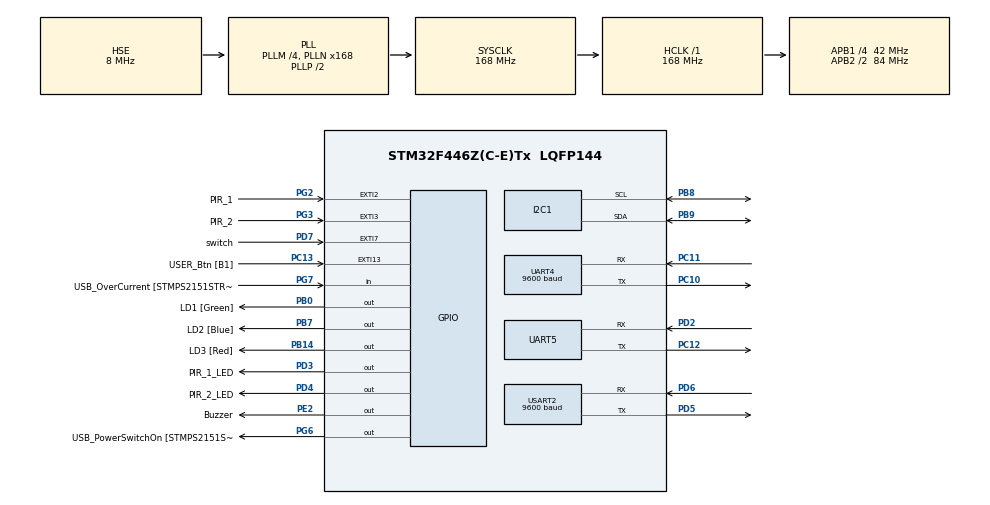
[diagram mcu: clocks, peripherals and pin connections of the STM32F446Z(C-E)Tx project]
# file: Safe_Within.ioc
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I2C1.I2C_Mode=I2C_Fast
I2C1.OwnAddress=0x10
Mcu.Family=STM32F4
Mcu.Name=STM32F446Z(C-E)Tx
Mcu.Package=LQFP144
NVIC.EXTI2_IRQn=true\:0\:0\:false\:false\:true\:true\:true\:true
NVIC.EXTI9_5_IRQn=true\:0\:0\:false\:false\:true\:true\:true\:true
NVIC.PriorityGroup=NVIC_PRIORITYGROUP_4
NVIC.TIM6_DAC_IRQn=true\:0\:0\:false\:false\:true\:true\:true\:true
NVIC.UART4_IRQn=true\:0\:0\:false\:false\:true\:true\:true\:true
NVIC.USART2_IRQn=true\:0\:0\:false\:false\:true\:true\:true\:true
PA10.GPIO_Label=USB_ID
PA10.Signal=USB_OTG_FS_ID
PA11.GPIO_Label=USB_DM
PA11.Signal=USB_OTG_FS_DM
PA12.GPIO_Label=USB_DP
PA12.Signal=USB_OTG_FS_DP
PA13.GPIO_Label=TMS
PA13.Mode=Serial_Wire
PA13.Signal=SYS_JTMS-SWDIO
PA14.GPIO_Label=TCK
PA14.Mode=Serial_Wire
PA14.Signal=SYS_JTCK-SWCLK
PA8.GPIO_Label=USB_SOF [TP1]
PA8.Signal=USB_OTG_FS_SOF
PA9.GPIO_Label=USB_VBUS
PA9.Signal=USB_OTG_FS_VBUS
PB0.GPIO_Label=LD1 [Green]
PB0.Signal=GPIO_Output
PB14.GPIO_Label=LD3 [Red]
PB14.Signal=GPIO_Output
PB7.GPIO_Label=LD2 [Blue]
PB7.Signal=GPIO_Output
PB8.Mode=I2C
PB8.Signal=I2C1_SCL
PB9.Mode=I2C
PB9.Signal=I2C1_SDA
PC10.Mode=Asynchronous
PC10.Signal=UART4_TX
PC11.Mode=Asynchronous
PC11.Signal=UART4_RX
PC12.Mode=Asynchronous
PC12.Signal=UART5_TX
PC13.GPIO_Label=USER_Btn [B1]
PC13.Signal=GPXTI13
PC14-OSC32_IN.Mode=LSE-External-Oscillator
PC14-OSC32_IN.Signal=RCC_OSC32_IN
PC15-OSC32_OUT.Mode=LSE-External-Oscillator
PC15-OSC32_OUT.Signal=RCC_OSC32_OUT
PD2.Mode=Asynchronous
PD2.Signal=UART5_RX
PD3.GPIO_Label=PIR_1_LED
PD3.Signal=GPIO_Output
PD4.GPIO_Label=PIR_2_LED
PD4.Signal=GPIO_Output
PD5.Mode=Asynchronous
PD5.Signal=USART2_TX
PD6.Mode=Asynchronous
PD6.Signal=USART2_RX
PD7.GPIO_Label=switch
PD7.GPIO_PuPd=GPIO_PULLUP
PD7.Signal=GPXTI7
PD8.GPIO_Label=STLK_RX [STM32F103CBT6_PA3]
PD8.Signal=USART3_TX
PD9.GPIO_Label=STLK_TX [STM32F103CBT6_PA2]
PD9.Signal=USART3_RX
PE2.GPIO_Label=Buzzer
PE2.GPIO_PuPd=GPIO_PULLUP
PE2.PinState=GPIO_PIN_SET
PE2.Signal=GPIO_Output
PG2.GPIO_Label=PIR_1
PG2.GPIO_PuPd=GPIO_PULLUP
PG2.Signal=GPXTI2
PG3.GPIO_Label=PIR_2
PG3.GPIO_PuPd=GPIO_PULLUP
PG3.Signal=GPXTI3
PG6.GPIO_Label=USB_PowerSwitchOn [STMPS2151STR_EN]
PG6.Signal=GPIO_Output
PG7.GPIO_Label=USB_OverCurrent [STMPS2151STR_FAULT]
PG7.Signal=GPIO_Input
PH0-OSC_IN.GPIO_Label=MCO [STM32F103CBT6_PA8]
PH0-OSC_IN.Mode=HSE-External-Clock-Source
PH0-OSC_IN.Signal=RCC_OSC_IN
PH1-OSC_OUT.Mode=HSE-External-Clock-Source
PH1-OSC_OUT.Signal=RCC_OSC_OUT
ProjectManager.HeapSize=0x200
ProjectManager.StackSize=0x400
ProjectManager.TargetToolchain=STM32CubeIDE
RCC.48MHZClocksFreq_Value=24000000
RCC.AHBFreq_Value=168000000
RCC.APB1CLKDivider=RCC_HCLK_DIV4
RCC.APB1Freq_Value=42000000
RCC.APB1TimFreq_Value=84000000
RCC.APB2CLKDivider=RCC_HCLK_DIV2
RCC.APB2Freq_Value=84000000
RCC.APB2TimFreq_Value=168000000
RCC.CortexFreq_Value=168000000
RCC.HCLKFreq_Value=168000000
RCC.HSE_VALUE=8000000
RCC.HSI_VALUE=16000000
RCC.PLLM=4
RCC.PLLMUL=RCC_PLL_MUL9
RCC.PLLN=168
RCC.PLLQ=7
RCC.PLLSourceVirtual=RCC_PLLSOURCE_HSE
RCC.PRESCALERUSB=RCC_USBCLKSOURCE_PLL_DIV1_5
RCC.SYSCLKFreq_VALUE=168000000
RCC.SYSCLKSource=RCC_SYSCLKSOURCE_PLLCLK
RCC.SYSCLKSourceVirtual=RCC_SYSCLKSOURCE_PLLCLK
RCC.USBFreq_Value=48000000
RCC.VCOOutputFreq_Value=336000000
TIM6.AutoReloadPreload=TIM_AUTORELOAD_PRELOAD_ENABLE
TIM6.Period=9999
TIM6.Prescaler=83
UART4.BaudRate=9600
UART4.VirtualMode=Asynchronous
UART5.VirtualMode=Asynchronous
USART2.BaudRate=9600
USART2.VirtualMode=VM_ASYNC
VP_TIM6_VS_ClockSourceINT.Mode=Enable_Timer
board=NUCLEO-F446ZE

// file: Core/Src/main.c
/* USER CODE BEGIN Header */
/**
  ******************************************************************************
  * @file           : main.c
  * @brief          : Main program body
  ******************************************************************************
  * @attention
  *
  * Copyright (c) 2025 STMicroelectronics.
  * All rights reserved.
  *
  * This software is licensed under terms that can be found in the LICENSE file
  * in the root directory of this software component.
  * If no LICENSE file comes with this software, it is provided AS-IS.
  *
  ******************************************************************************
  */
/* USER CODE END Header */
#include "main.h"

/* USER CODE BEGIN Includes */
#include "stdio.h"
#include "pir.h"
#include "buzzer.h"
#include "gsm.h"
#include "switch.h"
#include "string.h"
#include "modbus.h"
#include "i2c.h"
#include "sensor.h"
/* USER CODE END Includes */

I2C_HandleTypeDef hi2c1;

TIM_HandleTypeDef htim6;

UART_HandleTypeDef huart4;
UART_HandleTypeDef huart5;
UART_HandleTypeDef huart2;

/* USER CODE BEGIN PV */

/* Global Timer variable */
volatile uint32_t g_time = 0;

/*
 * UART Modbus
 */
volatile int uart_flag = 0;              // Frame received indicator
volatile uint32_t uart_int_time = 0;     // Interrupt time reference
volatile uint32_t uart_idle_time = 0;    // Idle time counter
uint8_t data = 0;                        // 1-byte buffer for USART2 data
int uart_index = 0;                      // Index for assembling modbus frame
uart_t request_t, response_t;            // UART request and response buffers

uint32_t time_check = 0;

float range;
detection_states sensor_state;

/* USER CODE END PV */

void SystemClock_Config(void);
static void MX_GPIO_Init(void);
static void MX_TIM6_Init(void);
static void MX_USART2_UART_Init(void);
static void MX_UART4_Init(void);
static void MX_I2C1_Init(void);
static void MX_UART5_Init(void);

/* USER CODE BEGIN 0 */

/**
 * @brief Callback: Timer Period Elapsed
 *
 * This is called whenever TIM6 overflows. Used as global timebase (g_time).
 */
void HAL_TIM_PeriodElapsedCallback(TIM_HandleTypeDef *htim) {
    if (htim->Instance == TIM6) {
    	g_time++ ;    //    Tick counter (ms resolution)
    }
}

/**
 * @brief Callback: UART Receive Complete
 *
 * Handles USART2 (Modbus) and UART4 (GSM) reception logic.
 */
void HAL_UART_RxCpltCallback(UART_HandleTypeDef *huart){
	/*
	 * 		Callback for MODBUS (UART2)
	 */
	if (huart->Instance == USART2){
		uart_flag = 1;                              // Indicate frame reception started
		uart_int_time = g_time;                     // Used as a clock watch
		modbus_frame[uart_index++] = data;          // Store data into modbus
		HAL_UART_Receive_IT(&huart2, &data, 1);     // Restart reception
	}

	/*
	 * 			Callback for GSM  (UART4)
	 */
    if (huart->Instance == UART4)
    {
        if (sim_rx_index < SIM_RX_BUFFER_SIZE - 1)
        {
            sim_rx_buffer[sim_rx_index++] = sim_rx_byte;    // Save incoming GSM char
        }
        HAL_UART_Receive_IT(&huart4, &sim_rx_byte, 1);     // Restart reception
    }

}

/* USER CODE END 0 */

int main(void)
{

  /* MCU Configuration--------------------------------------------------------*/

  /* Reset of all peripherals, Initializes the Flash interface and the Systick. */
  HAL_Init();

  /* Configure the system clock */
  SystemClock_Config();

  /* Initialize all configured peripherals */
  MX_GPIO_Init();
  MX_TIM6_Init();
  MX_USART2_UART_Init();
  MX_UART4_Init();
  MX_I2C1_Init();
  MX_UART5_Init();
  /* USER CODE BEGIN 2 */
//  States pir_state;

  /*
   *  Trigger buzzer for short time to indicate that  device is  activated
   */
  buzzer_on();
  HAL_Delay(500);
  buzzer_off();

  /* Initialize GSM module */
  gsm_reset();
  result = gsm_init();

  /* Start TIM6 as periodic interrupt (timebase) */
  HAL_TIM_Base_Start_IT(&htim6);
  time_check = g_time;  // Reference time for PIR  state monitoring

  /*
   * 	Testing I2C
   */
  uint16_t EepromAddress = 80;
  uint16_t DevAddress = EepromAddress << 1;
  uint8_t Transmit_data[3] = {0x00, 0x00, 0xAA};
  uint8_t Read_address[2] = {0x00, 0x00};
//  uint16_t Data_size = 1;
  uint8_t Received_data = 0;
  HAL_StatusTypeDef i2c_status;

  i2c_status = HAL_I2C_IsDeviceReady(&hi2c1, DevAddress, (uint32_t)I2C_TRIALS, (uint32_t)AT_TIMEOUT);
  if (i2c_status == HAL_OK){
	  HAL_I2C_Master_Transmit(&hi2c1, DevAddress, Transmit_data, 3, HAL_MAX_DELAY);
	  HAL_I2C_Master_Transmit(&hi2c1, DevAddress, Read_address, 2, HAL_MAX_DELAY);
	  HAL_I2C_Master_Receive(&hi2c1, DevAddress, Received_data, 1, HAL_MAX_DELAY);
  }
  /* USER CODE END 2 */

  /* Infinite loop */
  /* USER CODE BEGIN WHILE */

                                 /* Main Loop */
  while (1)
  {
	  range = get_object_distance();
	  sensor_state = get_sensor_state(range);
	  /* PIR ALERT state -> trigger buzzer and GSM call/sms */
	  if (sensor_state == ALERT){
		  buzzer_on();    // Trigger buzzer
		  int gsm_count = 0;   //Initialize gsm_counter as 0.

		  // Check for result response and retry upto 3 times until  result == GSM_STATE_OK
		  while(gsm_count <= MAX_GSM_INIT_ATTEMPTS){
			  if (result == GSM_STATE_OK){
				   call_sms_function();  // Trigger Call and SMS via GSM
				   break;
			  }
			  else{
				  result = gsm_init();  // Retry initialization
				  gsm_count++;  // Increment gsm_counter until its value <=3
			  }
		  }
	  }

	  else {
		  buzzer_off();  // Buzzer-OfF if pir_state is other than ALERT
	  }

	  /* Check again for Modbus frame completion */
	  if (uart_flag){
		  uart_idle_time = g_time - uart_int_time;
		  if (uart_idle_time > UART_TIMEOUT){
			  memcpy(request_t.message, modbus_frame, uart_index);
			  request_t.size = uart_index;
			  uart_index = 0;
			  uart_flag = 0;
			  Process_Modbus_Frame(modbus_frame);

		  }
	  }

    /* USER CODE END WHILE */

  }
}

void SystemClock_Config(void)
{
  RCC_OscInitTypeDef RCC_OscInitStruct = {0};
  RCC_ClkInitTypeDef RCC_ClkInitStruct = {0};

  /** Configure the main internal regulator output voltage
  */
  __HAL_RCC_PWR_CLK_ENABLE();
  __HAL_PWR_VOLTAGESCALING_CONFIG(PWR_REGULATOR_VOLTAGE_SCALE1);

  /** Initializes the RCC Oscillators according to the specified parameters
  * in the RCC_OscInitTypeDef structure.
  */
  RCC_OscInitStruct.OscillatorType = RCC_OSCILLATORTYPE_HSE;
  RCC_OscInitStruct.HSEState = RCC_HSE_BYPASS;
  RCC_OscInitStruct.PLL.PLLState = RCC_PLL_ON;
  RCC_OscInitStruct.PLL.PLLSource = RCC_PLLSOURCE_HSE;
  RCC_OscInitStruct.PLL.PLLM = 4;
  RCC_OscInitStruct.PLL.PLLN = 168;
  RCC_OscInitStruct.PLL.PLLP = RCC_PLLP_DIV2;
  RCC_OscInitStruct.PLL.PLLQ = 7;
  RCC_OscInitStruct.PLL.PLLR = 2;
  if (HAL_RCC_OscConfig(&RCC_OscInitStruct) != HAL_OK)
  {
    Error_Handler();
  }

  /** Initializes the CPU, AHB and APB buses clocks
  */
  RCC_ClkInitStruct.ClockType = RCC_CLOCKTYPE_HCLK|RCC_CLOCKTYPE_SYSCLK
                              |RCC_CLOCKTYPE_PCLK1|RCC_CLOCKTYPE_PCLK2;
  RCC_ClkInitStruct.SYSCLKSource = RCC_SYSCLKSOURCE_PLLCLK;
  RCC_ClkInitStruct.AHBCLKDivider = RCC_SYSCLK_DIV1;
  RCC_ClkInitStruct.APB1CLKDivider = RCC_HCLK_DIV4;
  RCC_ClkInitStruct.APB2CLKDivider = RCC_HCLK_DIV2;

  if (HAL_RCC_ClockConfig(&RCC_ClkInitStruct, FLASH_LATENCY_5) != HAL_OK)
  {
    Error_Handler();
  }
}

static void MX_I2C1_Init(void)
{

  hi2c1.Instance = I2C1;
  hi2c1.Init.ClockSpeed = 400000;
  hi2c1.Init.DutyCycle = I2C_DUTYCYCLE_2;
  hi2c1.Init.OwnAddress1 = 32;
  hi2c1.Init.AddressingMode = I2C_ADDRESSINGMODE_7BIT;
  hi2c1.Init.DualAddressMode = I2C_DUALADDRESS_DISABLE;
  hi2c1.Init.OwnAddress2 = 0;
  hi2c1.Init.GeneralCallMode = I2C_GENERALCALL_DISABLE;
  hi2c1.Init.NoStretchMode = I2C_NOSTRETCH_DISABLE;
  if (HAL_I2C_Init(&hi2c1) != HAL_OK)
  {
    Error_Handler();
  }

}

static void MX_TIM6_Init(void)
{

  TIM_MasterConfigTypeDef sMasterConfig = {0};

  htim6.Instance = TIM6;
  htim6.Init.Prescaler = 83;
  htim6.Init.CounterMode = TIM_COUNTERMODE_UP;
  htim6.Init.Period = 9999;
  htim6.Init.AutoReloadPreload = TIM_AUTORELOAD_PRELOAD_ENABLE;
  if (HAL_TIM_Base_Init(&htim6) != HAL_OK)
  {
    Error_Handler();
  }
  sMasterConfig.MasterOutputTrigger = TIM_TRGO_RESET;
  sMasterConfig.MasterSlaveMode = TIM_MASTERSLAVEMODE_DISABLE;
  if (HAL_TIMEx_MasterConfigSynchronization(&htim6, &sMasterConfig) != HAL_OK)
  {
    Error_Handler();
  }

}

static void MX_UART4_Init(void)
{

  huart4.Instance = UART4;
  huart4.Init.BaudRate = 9600;
  huart4.Init.WordLength = UART_WORDLENGTH_8B;
  huart4.Init.StopBits = UART_STOPBITS_1;
  huart4.Init.Parity = UART_PARITY_NONE;
  huart4.Init.Mode = UART_MODE_TX_RX;
  huart4.Init.HwFlowCtl = UART_HWCONTROL_NONE;
  huart4.Init.OverSampling = UART_OVERSAMPLING_16;
  if (HAL_UART_Init(&huart4) != HAL_OK)
  {
    Error_Handler();
  }

}

static void MX_UART5_Init(void)
{

  huart5.Instance = UART5;
  huart5.Init.BaudRate = 115200;
  huart5.Init.WordLength = UART_WORDLENGTH_8B;
  huart5.Init.StopBits = UART_STOPBITS_1;
  huart5.Init.Parity = UART_PARITY_NONE;
  huart5.Init.Mode = UART_MODE_TX_RX;
  huart5.Init.HwFlowCtl = UART_HWCONTROL_NONE;
  huart5.Init.OverSampling = UART_OVERSAMPLING_16;
  if (HAL_UART_Init(&huart5) != HAL_OK)
  {
    Error_Handler();
  }

}

static void MX_USART2_UART_Init(void)
{

  huart2.Instance = USART2;
  huart2.Init.BaudRate = 9600;
  huart2.Init.WordLength = UART_WORDLENGTH_8B;
  huart2.Init.StopBits = UART_STOPBITS_1;
  huart2.Init.Parity = UART_PARITY_NONE;
  huart2.Init.Mode = UART_MODE_TX_RX;
  huart2.Init.HwFlowCtl = UART_HWCONTROL_NONE;
  huart2.Init.OverSampling = UART_OVERSAMPLING_16;
  if (HAL_UART_Init(&huart2) != HAL_OK)
  {
    Error_Handler();
  }

}

static void MX_GPIO_Init(void)
{
  GPIO_InitTypeDef GPIO_InitStruct = {0};

  /* GPIO Ports Clock Enable */
  __HAL_RCC_GPIOE_CLK_ENABLE();
  __HAL_RCC_GPIOC_CLK_ENABLE();
  __HAL_RCC_GPIOH_CLK_ENABLE();
  __HAL_RCC_GPIOB_CLK_ENABLE();
  __HAL_RCC_GPIOD_CLK_ENABLE();
  __HAL_RCC_GPIOG_CLK_ENABLE();
  __HAL_RCC_GPIOA_CLK_ENABLE();

  /*Configure GPIO pin Output Level */
  HAL_GPIO_WritePin(Buzzer_GPIO_Port, Buzzer_Pin, GPIO_PIN_SET);

  /*Configure GPIO pin Output Level */
  HAL_GPIO_WritePin(GPIOB, LD1_Pin|LD3_Pin|LD2_Pin, GPIO_PIN_RESET);

  /*Configure GPIO pin Output Level */
  HAL_GPIO_WritePin(USB_PowerSwitchOn_GPIO_Port, USB_PowerSwitchOn_Pin, GPIO_PIN_RESET);

  /*Configure GPIO pin Output Level */
  HAL_GPIO_WritePin(GPIOD, PIR_1_LED_Pin|PIR_2_LED_Pin, GPIO_PIN_RESET);

  /*Configure GPIO pin : Buzzer_Pin */
  GPIO_InitStruct.Pin = Buzzer_Pin;
  GPIO_InitStruct.Mode = GPIO_MODE_OUTPUT_PP;
  GPIO_InitStruct.Pull = GPIO_PULLUP;
  GPIO_InitStruct.Speed = GPIO_SPEED_FREQ_LOW;
  HAL_GPIO_Init(Buzzer_GPIO_Port, &GPIO_InitStruct);

  /*Configure GPIO pin : USER_Btn_Pin */
  GPIO_InitStruct.Pin = USER_Btn_Pin;
  GPIO_InitStruct.Mode = GPIO_MODE_IT_RISING;
  GPIO_InitStruct.Pull = GPIO_NOPULL;
  HAL_GPIO_Init(USER_Btn_GPIO_Port, &GPIO_InitStruct);

  /*Configure GPIO pins : LD1_Pin LD3_Pin LD2_Pin */
  GPIO_InitStruct.Pin = LD1_Pin|LD3_Pin|LD2_Pin;
  GPIO_InitStruct.Mode = GPIO_MODE_OUTPUT_PP;
  GPIO_InitStruct.Pull = GPIO_NOPULL;
  GPIO_InitStruct.Speed = GPIO_SPEED_FREQ_LOW;
  HAL_GPIO_Init(GPIOB, &GPIO_InitStruct);

  /*Configure GPIO pins : STLK_RX_Pin STLK_TX_Pin */
  GPIO_InitStruct.Pin = STLK_RX_Pin|STLK_TX_Pin;
  GPIO_InitStruct.Mode = GPIO_MODE_AF_PP;
  GPIO_InitStruct.Pull = GPIO_NOPULL;
  GPIO_InitStruct.Speed = GPIO_SPEED_FREQ_VERY_HIGH;
  GPIO_InitStruct.Alternate = GPIO_AF7_USART3;
  HAL_GPIO_Init(GPIOD, &GPIO_InitStruct);

  /*Configure GPIO pins : PIR_1_Pin PIR_2_Pin */
  GPIO_InitStruct.Pin = PIR_1_Pin|PIR_2_Pin;
  GPIO_InitStruct.Mode = GPIO_MODE_IT_RISING;
  GPIO_InitStruct.Pull = GPIO_PULLUP;
  HAL_GPIO_Init(GPIOG, &GPIO_InitStruct);

  /*Configure GPIO pin : USB_PowerSwitchOn_Pin */
  GPIO_InitStruct.Pin = USB_PowerSwitchOn_Pin;
  GPIO_InitStruct.Mode = GPIO_MODE_OUTPUT_PP;
  GPIO_InitStruct.Pull = GPIO_NOPULL;
  GPIO_InitStruct.Speed = GPIO_SPEED_FREQ_LOW;
  HAL_GPIO_Init(USB_PowerSwitchOn_GPIO_Port, &GPIO_InitStruct);

  /*Configure GPIO pin : USB_OverCurrent_Pin */
  GPIO_InitStruct.Pin = USB_OverCurrent_Pin;
  GPIO_InitStruct.Mode = GPIO_MODE_INPUT;
  GPIO_InitStruct.Pull = GPIO_NOPULL;
  HAL_GPIO_Init(USB_OverCurrent_GPIO_Port, &GPIO_InitStruct);

  /*Configure GPIO pins : USB_SOF_Pin USB_ID_Pin USB_DM_Pin USB_DP_Pin */
  GPIO_InitStruct.Pin = USB_SOF_Pin|USB_ID_Pin|USB_DM_Pin|USB_DP_Pin;
  GPIO_InitStruct.Mode = GPIO_MODE_AF_PP;
  GPIO_InitStruct.Pull = GPIO_NOPULL;
  GPIO_InitStruct.Speed = GPIO_SPEED_FREQ_VERY_HIGH;
  GPIO_InitStruct.Alternate = GPIO_AF10_OTG_FS;
  HAL_GPIO_Init(GPIOA, &GPIO_InitStruct);

  /*Configure GPIO pin : USB_VBUS_Pin */
  GPIO_InitStruct.Pin = USB_VBUS_Pin;
  GPIO_InitStruct.Mode = GPIO_MODE_INPUT;
  GPIO_InitStruct.Pull = GPIO_NOPULL;
  HAL_GPIO_Init(USB_VBUS_GPIO_Port, &GPIO_InitStruct);

  /*Configure GPIO pins : PIR_1_LED_Pin PIR_2_LED_Pin */
  GPIO_InitStruct.Pin = PIR_1_LED_Pin|PIR_2_LED_Pin;
  GPIO_InitStruct.Mode = GPIO_MODE_OUTPUT_PP;
  GPIO_InitStruct.Pull = GPIO_NOPULL;
  GPIO_InitStruct.Speed = GPIO_SPEED_FREQ_LOW;
  HAL_GPIO_Init(GPIOD, &GPIO_InitStruct);

  /*Configure GPIO pin : switch_Pin */
  GPIO_InitStruct.Pin = switch_Pin;
  GPIO_InitStruct.Mode = GPIO_MODE_IT_RISING;
  GPIO_InitStruct.Pull = GPIO_PULLUP;
  HAL_GPIO_Init(switch_GPIO_Port, &GPIO_InitStruct);

  /* EXTI interrupt init*/
  HAL_NVIC_SetPriority(EXTI2_IRQn, 0, 0);
  HAL_NVIC_EnableIRQ(EXTI2_IRQn);

  HAL_NVIC_SetPriority(EXTI9_5_IRQn, 0, 0);
  HAL_NVIC_EnableIRQ(EXTI9_5_IRQn);

}

void Error_Handler(void)
{
  __disable_irq();
  while (1)
  {
  }
}
